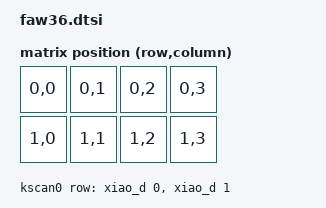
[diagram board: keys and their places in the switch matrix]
/*
 * Copyright (c) 2020 The ZMK Contributors
 *
 * SPDX-License-Identifier: MIT
 */

#include <dt-bindings/zmk/matrix_transform.h>

/ {
	chosen {
		zmk,kscan = &kscan0;
		zmk,matrix_transform = &default_transform;
	};

	default_transform: keymap_transform_0 {
		compatible = "zmk,matrix-transform";
		columns = <4>;
		rows = <2>;
// | SW1  | SW2  | SW3  | SW4  | SW5  |   | SW5  | SW4  | SW3  | SW2  | SW1  |
// | SW6  | SW7  | SW8  | SW9  | SW10 |   | SW10 | SW9  | SW8  | SW7  | SW6  |
// | SW11 | SW12 | SW13 | SW14 | SW15 |   | SW15 | SW14 | SW13 | SW12 | SW11 |
//               | SW16 | SW17 | SW18 |   | SW18 | SW17 | SW16 |
		map = <
RC(0,0) RC(0,1) RC(0,2) RC(0,3) 
RC(1,0) RC(1,1) RC(1,2) RC(1,3) 
		>;
	};

	kscan0: kscan {
		compatible = "zmk,kscan-gpio-matrix";
		label = "KSCAN";

		diode-direction = "col2row";
			row-gpios
        		= <&xiao_d 0 (GPIO_ACTIVE_HIGH | GPIO_PULL_DOWN)>
        		, <&xiao_d 1 (GPIO_ACTIVE_HIGH | GPIO_PULL_DOWN)>
        		;
	};

};

&xiao_i2c {
	status = "okay";

	expander: mcp23017@20 {
	    compatible = "microchip,mcp230xx";
        status = "okay";
        gpio-controller;
        reg = <0x20>;
		label = "MCP23017";
        #gpio-cells = <2>;
        ngpios = <16>;
    };
};


